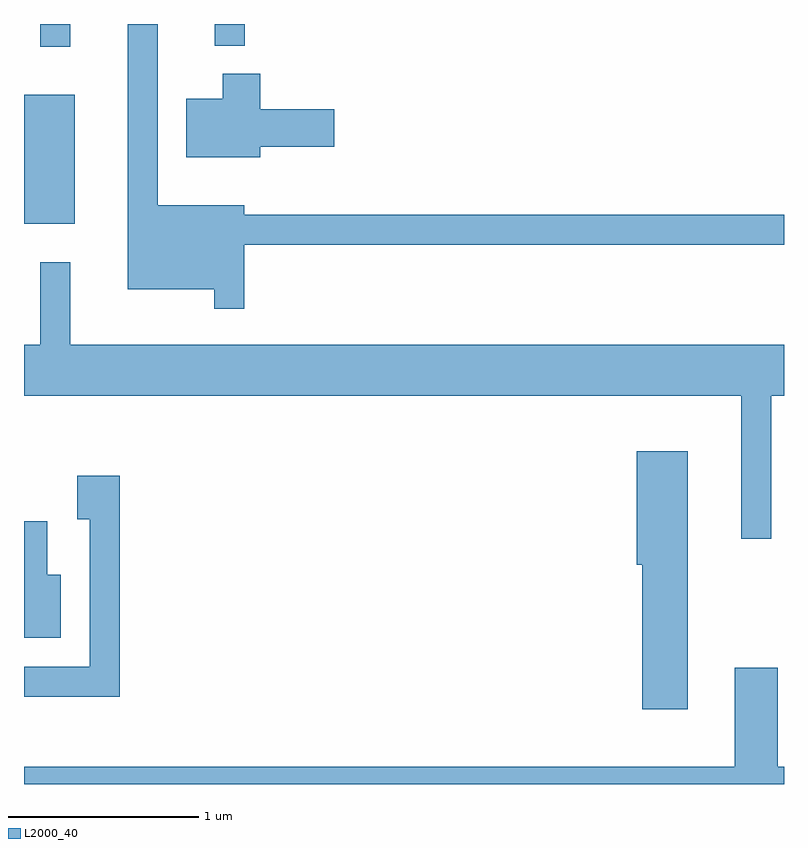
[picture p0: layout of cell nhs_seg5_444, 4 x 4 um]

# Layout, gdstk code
import gdstk
lib = gdstk.Library(unit=1e-6, precision=1e-09)
def R(c, l, rs):  # rectangles x0, y0, x1, y1
    for r in rs: c.add(gdstk.rectangle(r[:2], r[2:], *l))
def P(c, l, *ps):  # polygons
    for p in ps: c.add(gdstk.Polygon(p, *l))
L2000_40 = (2000, 40)

nhs_seg5_444 = lib.new_cell('nhs_seg5_444')
R(nhs_seg5_444, L2000_40, [(197.611,1471.021,197.879,1471.699), (197.696,1471.953,197.854,1472.072), (198.616,1471.958,198.774,1472.072)])
P(nhs_seg5_444, L2000_40, [(198.769,1470.911),(201.611,1470.911),(201.611,1471.069),(198.769,1471.069),(198.769,1471.119),(198.314,1471.119),(198.314,1472.072),(198.156,1472.072),(198.156,1470.676),(198.611,1470.676),(198.611,1470.573),(198.769,1470.573)],
  [(198.854,1471.426),(199.244,1471.426),(199.244,1471.624),(198.854,1471.624),(198.854,1471.809),(198.656,1471.809),(198.656,1471.679),(198.466,1471.679),(198.466,1471.371),(198.854,1471.371)],
  [(201.544,1470.116),(201.611,1470.116),(201.611,1470.384),(197.854,1470.384),(197.854,1470.818),(197.696,1470.818),(197.696,1470.384),(197.611,1470.384),(197.611,1470.116),(201.386,1470.116),(201.386,1469.363),(201.544,1469.363)],
  [(201.104,1469.824),(200.836,1469.824),(200.836,1469.226),(200.866,1469.226),(200.866,1468.466),(201.104,1468.466)],
  [(198.114,1469.694),(197.891,1469.694),(197.891,1469.466),(197.956,1469.466),(197.956,1468.689),(197.611,1468.689),(197.611,1468.531),(198.114,1468.531)],
  [(197.804,1469.174),(197.734,1469.174),(197.734,1469.454),(197.611,1469.454),(197.611,1468.841),(197.804,1468.841)],
  [(201.611,1468.164),(201.579,1468.164),(201.579,1468.684),(201.351,1468.684),(201.351,1468.164),(197.611,1468.164),(197.611,1468.072),(201.611,1468.072)])

lib.write_gds('nhs_seg5_444.gds')
